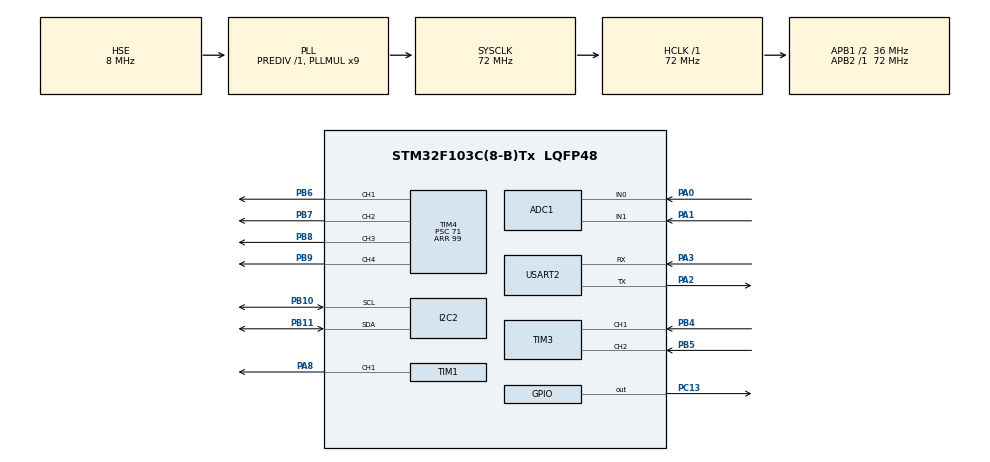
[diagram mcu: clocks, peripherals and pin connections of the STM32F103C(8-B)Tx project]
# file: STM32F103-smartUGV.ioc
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ADC1.Channel-0\#ChannelRegularConversion=ADC_CHANNEL_0
ADC1.ContinuousConvMode=DISABLE
ADC1.NbrOfConversion=1
ADC1.NbrOfConversionFlag=1
ADC1.Rank-0\#ChannelRegularConversion=1
ADC1.SamplingTime-0\#ChannelRegularConversion=ADC_SAMPLETIME_71CYCLES_5
ADC1.master=1
Dma.I2C2_RX.0.Direction=DMA_PERIPH_TO_MEMORY
Dma.I2C2_RX.0.Instance=DMA1_Channel5
Dma.I2C2_RX.0.MemDataAlignment=DMA_MDATAALIGN_BYTE
Dma.I2C2_RX.0.MemInc=DMA_MINC_ENABLE
Dma.I2C2_RX.0.Mode=DMA_NORMAL
Dma.I2C2_RX.0.PeriphDataAlignment=DMA_PDATAALIGN_BYTE
Dma.I2C2_RX.0.PeriphInc=DMA_PINC_DISABLE
Dma.I2C2_RX.0.Priority=DMA_PRIORITY_LOW
Dma.Request0=I2C2_RX
I2C2.I2C_Mode=I2C_Fast
Mcu.Family=STM32F1
Mcu.Name=STM32F103C(8-B)Tx
Mcu.Package=LQFP48
NVIC.DMA1_Channel5_IRQn=true\:0\:0\:false\:false\:true\:false\:true\:true
NVIC.I2C2_ER_IRQn=true\:0\:0\:false\:false\:true\:true\:true\:true
NVIC.I2C2_EV_IRQn=true\:0\:0\:false\:false\:true\:true\:true\:true
NVIC.PriorityGroup=NVIC_PRIORITYGROUP_4
NVIC.TIM3_IRQn=true\:0\:0\:false\:false\:true\:true\:true\:true
NVIC.USART2_IRQn=true\:0\:0\:false\:false\:true\:true\:true\:true
PA0-WKUP.Signal=ADCx_IN0
PA1.Signal=ADCx_IN1
PA13.Mode=Serial_Wire
PA13.Signal=SYS_JTMS-SWDIO
PA14.Mode=Serial_Wire
PA14.Signal=SYS_JTCK-SWCLK
PA2.Mode=Asynchronous
PA2.Signal=USART2_TX
PA3.Mode=Asynchronous
PA3.Signal=USART2_RX
PA8.Signal=S_TIM1_CH1
PB10.Mode=I2C
PB10.Signal=I2C2_SCL
PB11.Mode=I2C
PB11.Signal=I2C2_SDA
PB4.Signal=S_TIM3_CH1
PB5.Signal=S_TIM3_CH2
PB6.Signal=S_TIM4_CH1
PB7.Signal=S_TIM4_CH2
PB8.Signal=S_TIM4_CH3
PB9.Signal=S_TIM4_CH4
PC13-TAMPER-RTC.PinState=GPIO_PIN_SET
PC13-TAMPER-RTC.Signal=GPIO_Output
PD0-OSC_IN.Mode=HSE-External-Oscillator
PD0-OSC_IN.Signal=RCC_OSC_IN
PD1-OSC_OUT.Mode=HSE-External-Oscillator
PD1-OSC_OUT.Signal=RCC_OSC_OUT
ProjectManager.HeapSize=0x200
ProjectManager.StackSize=0x400
ProjectManager.TargetToolchain=STM32CubeIDE
RCC.ADCPresc=RCC_ADCPCLK2_DIV6
RCC.AHBFreq_Value=72000000
RCC.APB1CLKDivider=RCC_HCLK_DIV2
RCC.APB1Freq_Value=36000000
RCC.APB1TimFreq_Value=72000000
RCC.APB2Freq_Value=72000000
RCC.APB2TimFreq_Value=72000000
RCC.HCLKFreq_Value=72000000
RCC.PLLMUL=RCC_PLL_MUL9
RCC.PLLSourceVirtual=RCC_PLLSOURCE_HSE
RCC.SYSCLKFreq_VALUE=72000000
RCC.SYSCLKSource=RCC_SYSCLKSOURCE_PLLCLK
RCC.USBFreq_Value=72000000
SH.ADCx_IN0.0=ADC1_IN0,IN0
SH.ADCx_IN1.0=ADC1_IN1,IN1
SH.S_TIM1_CH1.0=TIM1_CH1,PWM Generation1 CH1
SH.S_TIM3_CH1.0=TIM3_CH1,Input_Capture1_from_TI1
SH.S_TIM3_CH2.0=TIM3_CH2,Input_Capture2_from_TI2
SH.S_TIM4_CH1.0=TIM4_CH1,PWM Generation1 CH1
SH.S_TIM4_CH2.0=TIM4_CH2,PWM Generation2 CH2
SH.S_TIM4_CH3.0=TIM4_CH3,PWM Generation3 CH3
SH.S_TIM4_CH4.0=TIM4_CH4,PWM Generation4 CH4
TIM1.AutoReloadPreload=TIM_AUTORELOAD_PRELOAD_ENABLE
TIM1.Channel-PWM\ Generation1\ CH1=TIM_CHANNEL_1
TIM1.Period=19999
TIM1.Prescaler=71
TIM1.Pulse-PWM\ Generation1\ CH1=14200
TIM2.Prescaler=71
TIM3.Channel-Input_Capture1_from_TI1=TIM_CHANNEL_1
TIM3.Channel-Input_Capture2_from_TI2=TIM_CHANNEL_2
TIM3.ICFilter_CH1=4
TIM3.ICFilter_CH2=4
TIM4.AutoReloadPreload=TIM_AUTORELOAD_PRELOAD_ENABLE
TIM4.Channel-PWM\ Generation1\ CH1=TIM_CHANNEL_1
TIM4.Channel-PWM\ Generation2\ CH2=TIM_CHANNEL_2
TIM4.Channel-PWM\ Generation3\ CH3=TIM_CHANNEL_3
TIM4.Channel-PWM\ Generation4\ CH4=TIM_CHANNEL_4
TIM4.Period=99
TIM4.Prescaler=71
USART2.VirtualMode=VM_ASYNC
VP_TIM2_VS_ClockSourceINT.Mode=Internal
VP_TIM4_VS_ClockSourceINT.Mode=Internal
board=custom

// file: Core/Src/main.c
/* USER CODE BEGIN Header */
/**
  ******************************************************************************
  * @file           : main.c
  * @brief          : Main program body
  ******************************************************************************
  * @attention
  *
  * Copyright (c) 2026 STMicroelectronics.
  * All rights reserved.
  *
  * This software is licensed under terms that can be found in the LICENSE file
  * in the root directory of this software component.
  * If no LICENSE file comes with this software, it is provided AS-IS.
  *
  ******************************************************************************
  */
/* USER CODE END Header */
#include "main.h"
#include "adc.h"
#include "dma.h"
#include "i2c.h"
#include "tim.h"
#include "usart.h"
#include "gpio.h"

/* USER CODE BEGIN Includes */
#include "telemetry_module.h"
#include "pilot_module.h"
/* USER CODE END Includes */

/* USER CODE BEGIN PV */
// Виділяємо пам'ять під стан та статус робота. Початковий стан і статус — СТОП.
volatile RobotState_t current_robot_state = ROBOT_STATE_STOPPED;
volatile RobotStatus_t current_robot_status = ROBOT_STATUS_STOPPED;

// Виділяємо пам'ять під маршрут робота.
volatile PathPoint_t robot_path[MAX_PATH_POINTS];
volatile uint8_t robot_path_size = 0;
volatile uint8_t robot_new_path_ready = 0;

//Організація асинхронного таймера відправки (50 мс)
volatile uint32_t last_telemetry_tick = 0;
const uint32_t TELEMETRY_INTERVAL_MS = 50;
RobotStatus_t prev_sent_status = (RobotStatus_t)0xFF; // Неіснуючий статус для відправки першого пакета при старті

// Глобальні змінні стану робота (для демонстрації інтеграції)
float robot_x = 4.0f;
float robot_y = 4.0f;
float robot_theta_deg = 90.0f;
uint8_t robot_battery_pct = 80;

// Глобальна змінна для Модуля Пілота (щоб він міг бачити відстань у реальному часі)
volatile uint16_t sharp_distance_raw_adc = 0;

/* USER CODE END PV */

void SystemClock_Config(void);
/* USER CODE BEGIN PFP */

// Асинхронна відправка телеметрії (викликається по таймеру кожні 50 мс)
void STM32_SendTelemetry(float x, float y, float theta, uint8_t battery, RobotState_t state) {
    UartTelemetryPacket_t pkt;
    pkt.header1 = 0xDE;
    pkt.header2 = 0x01;
    pkt.x = x;
    pkt.y = y;
    pkt.theta_deg = theta;
    pkt.battery_pct = battery;
    pkt.status_code = (uint8_t)state;

    // Рахуємо від першого корисного поля (x) до самого кінця структури
    uint16_t data_size = sizeof(UartTelemetryPacket_t) - 3;
    pkt.crc8 = STM32_GetCRC8((uint8_t*)&pkt.x, data_size);

    // Побайтова швидка відправка в регістр USART2
    uint8_t *pData = (uint8_t*)&pkt;
    for (uint8_t i = 0; i < sizeof(UartTelemetryPacket_t); i++) {
        while ((USART2->SR & USART_SR_TXE) == 0);
        USART2->DR = pData[i];
    }
}

// Асинхронна відправка однієї точки сканування перешкод
void STM32_SendScanPoint(int16_t angle, uint16_t distance_mm, uint8_t is_last) {
    UartScanPacket_t pkt;
    pkt.header1 = 0xDE;
    pkt.header2 = 0x02;
    pkt.angle = angle;
    pkt.distance_mm = distance_mm;
    pkt.is_end_of_scan = is_last;

    // Рахуємо від першого корисного поля (angle) до самого кінця структури
    uint16_t data_size = sizeof(UartScanPacket_t) - 3;
    pkt.crc8 = STM32_GetCRC8((uint8_t*)&pkt.angle, data_size);

    uint8_t *pData = (uint8_t*)&pkt;
    for (uint8_t i = 0; i < sizeof(UartScanPacket_t); i++) {
        while ((USART2->SR & USART_SR_TXE) == 0);
        USART2->DR = pData[i];
    }
}

/* USER CODE END PFP */

int main(void)
{

  /* MCU Configuration--------------------------------------------------------*/

  /* Reset of all peripherals, Initializes the Flash interface and the Systick. */
  HAL_Init();

  /* Configure the system clock */
  SystemClock_Config();

  /* Initialize all configured peripherals */
  MX_GPIO_Init();
  MX_DMA_Init();
  MX_TIM1_Init();
  MX_TIM4_Init();
  MX_ADC1_Init();
  MX_I2C2_Init();
  MX_TIM2_Init();
  MX_TIM3_Init();
  MX_USART2_UART_Init();
  /* USER CODE BEGIN 2 */
  HAL_Delay(300); // Даємо 3000 мс на заряд конденсаторів та старт периферії
  __HAL_UART_ENABLE_IT(&huart2, UART_IT_RXNE); // Вмикаємо переривання по прийому байта
  //Ініціалізуємо ADC:
  ADC_UserInit();
  //if (ADC_UserInit() != HAL_OK)
  //{
  //    Error_Handler();
  //}
  Telemetry_Init(); // Ініціалізуємо таймери, одометрію та сенсори
  Pilot_Init();     // Запуск ШІМ моторів
  HAL_GPIO_WritePin(GPIOC, GPIO_PIN_13, GPIO_PIN_RESET); //Вмикаю індикацію завершення ініціалізації

  /* USER CODE END 2 */

  /* Infinite loop */
  /* USER CODE BEGIN WHILE */
  while (1)
  {

		// 1. 1. Оновлення сенсорів, одометрії та курсу (всередині неблокуючі автомати)
		Telemetry_Update();

	    // 2. Автономна навігація, калібрування, сканер та керування двигунами (автомат стану - State Machine)
	    Pilot_Update();

	    // 3. Розумна відправка телеметрії (без спаму в стані спокою)
	    uint32_t current_tick = HAL_GetTick();
	    uint8_t is_active = (current_robot_status != ROBOT_STATUS_STOPPED &&
	                         current_robot_status != ROBOT_STATUS_ARRIVED);

	    if (current_robot_status != prev_sent_status) {
	        // Миттєва відправка при зміні статусу (початок руху, калібрування або фіксація повної зупинки)
	        prev_sent_status = current_robot_status;
	        last_telemetry_tick = current_tick;
	        STM32_SendTelemetry(robot_x, robot_y, robot_theta_deg, robot_battery_pct, current_robot_status);
	    }
	    else if (is_active && (current_tick - last_telemetry_tick >= TELEMETRY_INTERVAL_MS)) {
	        // Періодична відправка кожні 50 мс тільки під час активних дій
	        last_telemetry_tick = current_tick;
	        STM32_SendTelemetry(robot_x, robot_y, robot_theta_deg, robot_battery_pct, current_robot_status);
	    }

    /* USER CODE END WHILE */

  }
}

void SystemClock_Config(void)
{
  RCC_OscInitTypeDef RCC_OscInitStruct = {0};
  RCC_ClkInitTypeDef RCC_ClkInitStruct = {0};
  RCC_PeriphCLKInitTypeDef PeriphClkInit = {0};

  /** Initializes the RCC Oscillators according to the specified parameters
  * in the RCC_OscInitTypeDef structure.
  */
  RCC_OscInitStruct.OscillatorType = RCC_OSCILLATORTYPE_HSE;
  RCC_OscInitStruct.HSEState = RCC_HSE_ON;
  RCC_OscInitStruct.HSEPredivValue = RCC_HSE_PREDIV_DIV1;
  RCC_OscInitStruct.HSIState = RCC_HSI_ON;
  RCC_OscInitStruct.PLL.PLLState = RCC_PLL_ON;
  RCC_OscInitStruct.PLL.PLLSource = RCC_PLLSOURCE_HSE;
  RCC_OscInitStruct.PLL.PLLMUL = RCC_PLL_MUL9;
  if (HAL_RCC_OscConfig(&RCC_OscInitStruct) != HAL_OK)
  {
    Error_Handler();
  }

  /** Initializes the CPU, AHB and APB buses clocks
  */
  RCC_ClkInitStruct.ClockType = RCC_CLOCKTYPE_HCLK|RCC_CLOCKTYPE_SYSCLK
                              |RCC_CLOCKTYPE_PCLK1|RCC_CLOCKTYPE_PCLK2;
  RCC_ClkInitStruct.SYSCLKSource = RCC_SYSCLKSOURCE_PLLCLK;
  RCC_ClkInitStruct.AHBCLKDivider = RCC_SYSCLK_DIV1;
  RCC_ClkInitStruct.APB1CLKDivider = RCC_HCLK_DIV2;
  RCC_ClkInitStruct.APB2CLKDivider = RCC_HCLK_DIV1;

  if (HAL_RCC_ClockConfig(&RCC_ClkInitStruct, FLASH_LATENCY_2) != HAL_OK)
  {
    Error_Handler();
  }
  PeriphClkInit.PeriphClockSelection = RCC_PERIPHCLK_ADC;
  PeriphClkInit.AdcClockSelection = RCC_ADCPCLK2_DIV6;
  if (HAL_RCCEx_PeriphCLKConfig(&PeriphClkInit) != HAL_OK)
  {
    Error_Handler();
  }
}

/* USER CODE BEGIN 4 */
// Викликається після успішного завершення HAL_I2C_Mem_Write_IT
void HAL_I2C_MemTxCpltCallback(I2C_HandleTypeDef *hi2c) {
    if (hi2c == hmpu1.hi2c) {
        MPU6050_I2C_MemTxCpltCallback(&hmpu1);
    }
}

// Викликається після успішного завершення HAL_I2C_Mem_Read_DMA
void HAL_I2C_MemRxCpltCallback(I2C_HandleTypeDef *hi2c) {
    if (hi2c == hmpu1.hi2c) {
        MPU6050_I2C_MemRxCpltCallback(&hmpu1);
    }
}

// Обробка помилок на шині I2C
void HAL_I2C_ErrorCallback(I2C_HandleTypeDef *hi2c) {
    if (hi2c == hmpu1.hi2c) {
        hmpu1.state = MPU_STATE_ERROR;
        hmpu1.i2c_busy = 0;
    }
}
/* USER CODE END 4 */

void Error_Handler(void)
{
  __disable_irq();
  while (1)
  {
  }
}
